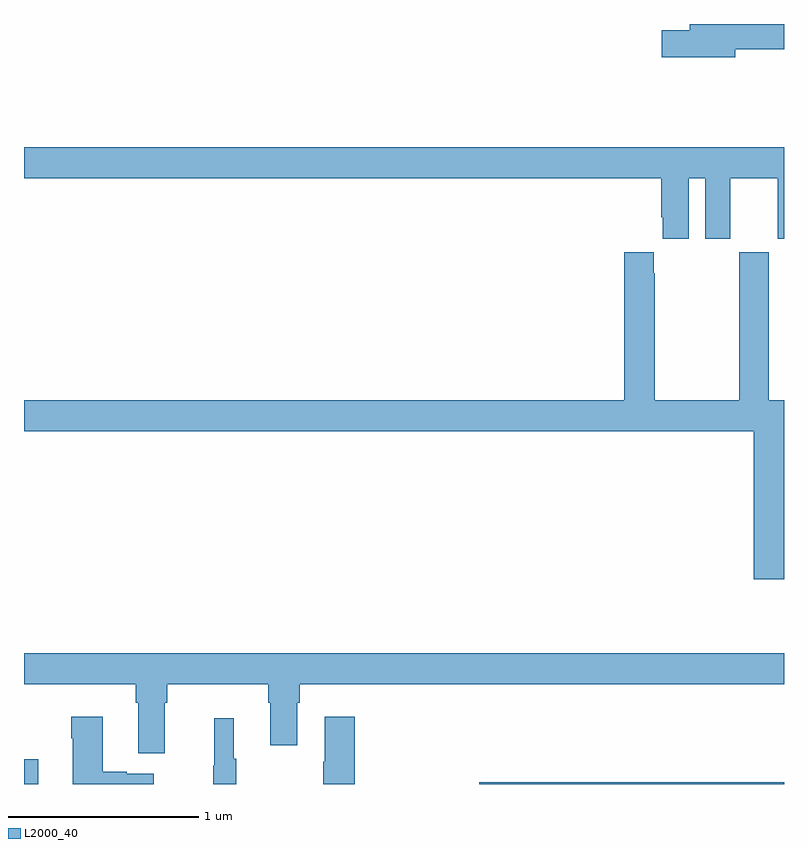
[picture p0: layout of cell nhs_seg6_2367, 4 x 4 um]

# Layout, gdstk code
import gdstk
lib = gdstk.Library(unit=1e-6, precision=1e-09)
def R(c, l, rs):  # rectangles x0, y0, x1, y1
    for r in rs: c.add(gdstk.rectangle(r[:2], r[2:], *l))
def P(c, l, *ps):  # polygons
    for p in ps: c.add(gdstk.Polygon(p, *l))
L2000_40 = (2000, 40)

nhs_seg6_2367 = lib.new_cell('nhs_seg6_2367')
R(nhs_seg6_2367, L2000_40, [(253,925.5,253.076,925.63), (255.395,925.5,257,925.508)])
P(nhs_seg6_2367, L2000_40, [(256.744,929.368),(257,929.368),(257,929.5),(256.505,929.5),(256.505,929.468),(256.356,929.468),(256.356,929.326),(256.744,929.326)],
  [(256.498,928.688),(256.586,928.688),(256.586,928.371),(256.717,928.371),(256.717,928.688),(256.967,928.688),(256.967,928.371),(257,928.371),(257,928.852),(253,928.852),(253,928.688),(256.355,928.688),(256.355,928.483),(256.361,928.483),(256.361,928.371),(256.498,928.371)],
  [(257,927.52),(256.92,927.52),(256.92,928.3),(256.765,928.3),(256.765,927.52),(256.32,927.52),(256.32,928.187),(256.315,928.187),(256.315,928.3),(256.16,928.3),(256.16,927.52),(253,927.52),(253,927.356),(256.841,927.356),(256.841,926.577),(257,926.577)],
  [(253.741,925.928),(253.754,925.928),(253.754,926.024),(254.285,926.024),(254.285,925.928),(254.297,925.928),(254.297,925.704),(254.437,925.704),(254.437,925.928),(254.45,925.928),(254.45,926.024),(257,926.024),(257,926.188),(253,926.188),(253,926.024),(253.589,926.024),(253.589,925.928),(253.601,925.928),(253.601,925.662),(253.741,925.662)],
  [(253.684,925.555),(253.541,925.555),(253.541,925.565),(253.414,925.565),(253.414,925.855),(253.249,925.855),(253.249,925.742),(253.256,925.742),(253.256,925.5),(253.684,925.5)],
  [(254.741,925.855),(254.582,925.855),(254.582,925.616),(254.575,925.616),(254.575,925.5),(254.741,925.5)],
  [(254.116,925.633),(254.105,925.633),(254.105,925.846),(254.002,925.846),(254.002,925.596),(253.995,925.596),(253.995,925.5),(254.116,925.5)])

lib.write_gds('nhs_seg6_2367.gds')
